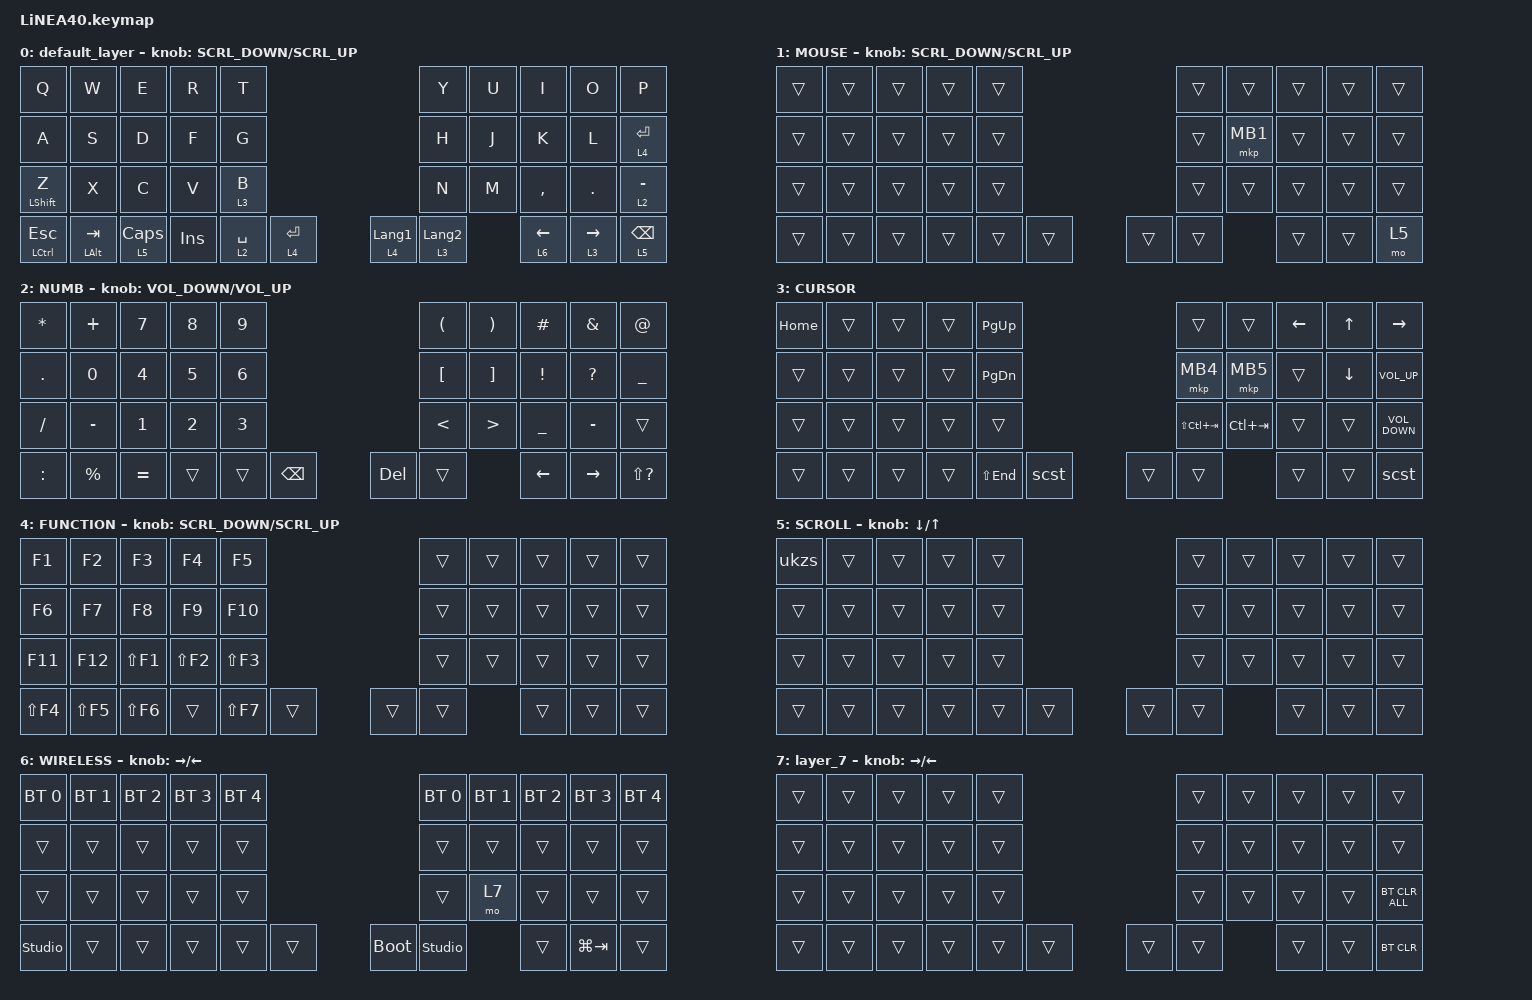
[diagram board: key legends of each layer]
#define ZMK_POINTING_DEFAULT_SCRL_VAL 150

#include <dt-bindings/zmk/input_transform.h>
#include <input/processors.dtsi>
#include <zephyr/dt-bindings/input/input-event-codes.h>
#include <behaviors.dtsi>
#include <dt-bindings/zmk/bt.h>
#include <dt-bindings/zmk/keys.h>
#include <dt-bindings/zmk/pointing.h>

#define MOUSE 1
#define NUMB 2
#define CURSOR 3
#define FUNCTION 4
#define SCROLL 5
#define WIRELESS 6

//mouse cursol

&mmv {
    delay-ms = <20>;
    trigger-period-ms = <5>;
    time-to-max-speed-ms = <100>;
    acceleration-exponent = <2>;
};

//mouse scroll

&msc {
    delay-ms = <3>;
    trigger-period-ms = <5>;
    time-to-max-speed-ms = <100>;
    acceleration-exponent = <0>;
};

/ {
    input_processors {
        zip_wheel_scaler: zip_wheel_scaler {
            compatible = "zmk,input-processor-scaler";
            #input-processor-cells = <2>;
            type = <INPUT_EV_REL>;
            codes = <INPUT_REL_WHEEL>;
            track-remainders;
        };
    };
};

&msc_input_listener {
    speed_up {
        layers = <FUNCTION>;
        input-processors = <&zip_wheel_scaler 1 2>; //スクロールを半分にする
    };
};

&trackball_listener {
    scroller {
        layers = <SCROLL>;
        input-processors =
            <&zip_xy_transform INPUT_TRANSFORM_Y_INVERT>,
            //スクロール方向を逆転,,,,,,,,,,,,
            <&zip_xy_to_scroll_mapper>;
    };
};

/ {
    combos {
        compatible = "zmk,combos";

        esc {
            bindings = <&kp ESCAPE>;
            key-positions = <0 1>;
        };

        bs {
            bindings = <&kp BACKSPACE>;
            key-positions = <8 9>;
        };

        pirri {
            bindings = <&kp PERIOD>;
            key-positions = <7 8>;
        };

        conma {
            bindings = <&kp COMMA>;
            key-positions = <6 7>;
        };

        win {
            bindings = <&kp LEFT_WIN>;
            key-positions = <31 32>;
        };

        del {
            bindings = <&kp DELETE>;
            key-positions = <4 3>;
        };

        mb3 {
            bindings = <&mkp MB3>;
            key-positions = <16 17>;
        };

        mb2 {
            bindings = <&mkp MB2>;
            key-positions = <17 18>;
        };

        LANG01 {
            bindings = <&kp LANGUAGE_2>;
            key-positions = <0 10>;
        };

        boost {
            bindings = <&mo 7>;
            key-positions = <18 19>;
        };
    };

    behaviors {
        re_kp: sensor_rotate_kp {
            compatible = "zmk,behavior-sensor-rotate-var";
            #sensor-binding-cells = <2>;
            bindings = <&kp>, <&kp>;
        };

        mouse_scrl: mouse_wheel_scrl {
            compatible = "zmk,behavior-sensor-rotate-var";
            #sensor-binding-cells = <2>;
            bindings = <&msc>, <&msc>;

            tap-ms = <40>;
        };
    };

    macros {
        ukzs: pass {
            compatible = "zmk,behavior-macro";
            #binding-cells = <0>;
            wait-ms = <30>;  // 入力速度が速すぎてPC側が追いつかない場合に調整
            tap-ms = <30>;
            bindings = <&kp N &kp O &kp M &kp U &kp R &kp A &kp UNDER &kp NUMBER_6 &kp NUMBER_9 &kp NUMBER_8 &kp NUMBER_0>;
        };

        scst: scst {
            compatible = "zmk,behavior-macro";
            #binding-cells = <0>;
            wait-ms = <0>;
            tap-ms = <0>;
            bindings =
                <&macro_press>,
                <&kp LGUI &kp LSHIFT>,
                <&macro_tap>,
                <&kp S>,
                <&macro_release>,
                <&kp LGUI &kp LSHIFT>;
        };
    };

    keymap {
        compatible = "zmk,keymap";

        default_layer {
            bindings = <
&kp Q             &kp W             &kp E           &kp R    &kp T                                         &kp Y             &kp U  &kp I             &kp O              &kp P
&kp A             &kp S             &kp D           &kp F    &kp G                                         &kp H             &kp J  &kp K             &kp L              &lt 4 RETURN
&mt LEFT_SHIFT Z  &kp X             &kp C           &kp V    &lt 3 B                                       &kp N             &kp M  &kp COMMA         &kp PERIOD         &lt 2 MINUS
&mt LCTRL ESC     &mt LEFT_ALT TAB  &lt 5 CAPSLOCK  &kp INS  &lt 2 SPACE  &lt 4 ENTER    &lt 4 LANGUAGE_1  &lt 3 LANGUAGE_2         &lt 6 LEFT_ARROW  &lt 3 RIGHT_ARROW  &lt 5 BACKSPACE
            >;

            sensor-bindings = <&mouse_scrl SCRL_DOWN SCRL_UP>;
        };

        //1

        MOUSE {
            bindings = <
&trans  &trans  &trans  &trans  &trans                    &trans  &trans    &trans  &trans  &trans
&trans  &trans  &trans  &trans  &trans                    &trans  &mkp MB1  &trans  &trans  &trans
&trans  &trans  &trans  &trans  &trans                    &trans  &trans    &trans  &trans  &trans
&trans  &trans  &trans  &trans  &trans  &trans    &trans  &trans            &trans  &trans  &mo 5
            >;

            sensor-bindings = <&mouse_scrl SCRL_DOWN SCRL_UP>;
        };

        //2

        NUMB {
            bindings = <
&kp ASTERISK  &kp PLUS     &kp N7     &kp N8  &kp N9                               &kp LEFT_PARENTHESIS  &kp RIGHT_PARENTHESIS  &kp HASH         &kp AMPERSAND    &kp AT_SIGN
&kp PERIOD    &kp N0       &kp N4     &kp N5  &kp N6                               &kp LEFT_BRACKET      &kp RIGHT_BRACKET      &kp EXCLAMATION  &kp QUESTION     &kp UNDERSCORE
&kp SLASH     &kp MINUS    &kp N1     &kp N2  &kp N3                               &kp LESS_THAN         &kp GREATER_THAN       &kp UNDERSCORE   &kp MINUS        &trans
&kp COLON     &kp PERCENT  &kp EQUAL  &trans  &trans  &kp BACKSPACE    &kp DELETE  &trans                                       &kp LEFT_ARROW   &kp RIGHT_ARROW  &kp LS(QUESTION)
            >;

            sensor-bindings = <&re_kp C_VOLUME_DOWN C_VOLUME_UP>;
        };

        //3

        CURSOR {
            bindings = <
&kp HOME  &trans  &trans  &trans  &kp PAGE_UP                     &trans           &trans       &kp LEFT_ARROW  &kp UP_ARROW    &kp RIGHT_ARROW
&trans    &trans  &trans  &trans  &kp PAGE_DOWN                   &mkp MB4         &mkp MB5     &trans          &kp DOWN_ARROW  &kp C_VOLUME_UP
&trans    &trans  &trans  &trans  &trans                          &kp LS(LC(TAB))  &kp LC(TAB)  &trans          &trans          &kp C_VOLUME_DOWN
&trans    &trans  &trans  &trans  &kp LS(END)    &scst    &trans  &trans                        &trans          &trans          &scst
            >;
        };

        //4

        FUNCTION {
            bindings = <
&kp F1      &kp F2      &kp F3      &kp F4      &kp F5                        &trans  &trans  &trans  &trans  &trans
&kp F6      &kp F7      &kp F8      &kp F9      &kp F10                       &trans  &trans  &trans  &trans  &trans
&kp F11     &kp F12     &kp LS(F1)  &kp LS(F2)  &kp LS(F3)                    &trans  &trans  &trans  &trans  &trans
&kp LS(F4)  &kp LS(F5)  &kp LS(F6)  &trans      &kp LS(F7)  &trans    &trans  &trans          &trans  &trans  &trans
            >;

            sensor-bindings = <&mouse_scrl SCRL_DOWN SCRL_UP>;
        };

        //5

        SCROLL {
            bindings = <
&ukzs   &trans  &trans  &trans  &trans                    &trans  &trans  &trans  &trans  &trans
&trans  &trans  &trans  &trans  &trans                    &trans  &trans  &trans  &trans  &trans
&trans  &trans  &trans  &trans  &trans                    &trans  &trans  &trans  &trans  &trans
&trans  &trans  &trans  &trans  &trans  &trans    &trans  &trans          &trans  &trans  &trans
            >;

            sensor-bindings = <&inc_dec_kp DOWN_ARROW UP_ARROW>;
        };

        //6

        WIRELESS {
            bindings = <
&bt BT_SEL 0    &bt BT_SEL 1  &bt BT_SEL 2  &bt BT_SEL 3  &bt BT_SEL 4                         &bt BT_SEL 0    &bt BT_SEL 1  &bt BT_SEL 2  &bt BT_SEL 3  &bt BT_SEL 4
&trans          &trans        &trans        &trans        &trans                               &trans          &trans        &trans        &trans        &trans
&trans          &trans        &trans        &trans        &trans                               &trans          &mo 7         &trans        &trans        &trans
&studio_unlock  &trans        &trans        &trans        &trans        &trans    &bootloader  &studio_unlock                &trans        &kp LG(TAB)   &trans
            >;

            sensor-bindings = <&inc_dec_kp RIGHT_ARROW LEFT_ARROW>;
        };

        layer_7 {
            bindings = <
&trans  &trans  &trans  &trans  &trans                    &trans  &trans  &trans  &trans  &trans
&trans  &trans  &trans  &trans  &trans                    &trans  &trans  &trans  &trans  &trans
&trans  &trans  &trans  &trans  &trans                    &trans  &trans  &trans  &trans  &bt BT_CLR_ALL
&trans  &trans  &trans  &trans  &trans  &trans    &trans  &trans          &trans  &trans  &bt BT_CLR
            >;

            sensor-bindings = <&inc_dec_kp RIGHT_ARROW LEFT_ARROW>;
        };
    };
};
